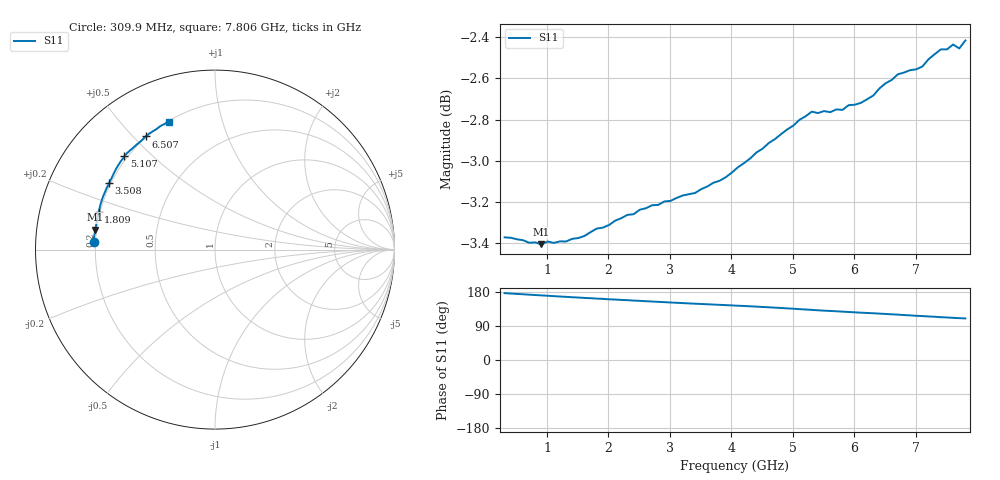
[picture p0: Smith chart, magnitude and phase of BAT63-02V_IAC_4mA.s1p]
! Infineon Technologies  Discrete & RF Semiconductors
! BAT63-02V
! IAC = 4 mA
! One-Port S-Parameters
# Hz  S  MA  R  50
!f  S11
!Hz  Mag  Ang
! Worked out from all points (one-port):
!   76 points, 309.9 MHz to 7.806 GHz, reference 50 ohm
!   lowest |S11| = -3.4 dB at 909.5 MHz (marker M1), VSWR 5.16, Z = 9.75 + j4.01 ohm
!   |S11| at or under -10 dB: nowhere
!   S11 on the Smith chart (normalised r, x): 309.9 MHz: 0.19, +0.03; 1.809 GHz: 0.19, +0.15; 3.508 GHz: 0.19, +0.28; 5.107 GHz: 0.19, +0.41; 6.507 GHz: 0.20, +0.54; 7.806 GHz: 0.20, +0.68
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3.0985e8  0.6782 176.4
9.0955e8  0.6755 170.5
1.30935e9  0.6766 166.7
1.8091e9  0.6816 162.0
1.90905e9  0.6819 161.3
2.009e9  0.6829 160.2
2.10895e9  0.6846 159.6
2.2089e9  0.6855 158.5
2.30885e9  0.6868 157.9
2.50875e9  0.6888 156.1
3.2084e9  0.6943 150.2
3.50825e9  0.6968 147.8
4.10795e9  0.7054 143.2
4.4078e9  0.7112 140.9
5.0075e9  0.722 135.3
5.10745e9  0.7243 134.2
5.50725e9  0.7279 130.2
6.007e9  0.7305 125.8
6.50675e9  0.7393 121.5
6.70665e9  0.743 119.7
6.90655e9  0.7447 117.7
7.0065e9  0.7451 116.6
7.10645e9  0.7463 116.0
7.2064e9  0.7493 114.9
7.30635e9  0.7514 114.1
7.4063e9  0.7534 113.0
7.70615e9  0.7538 110.4
7.8061e9  0.7572 109.6
